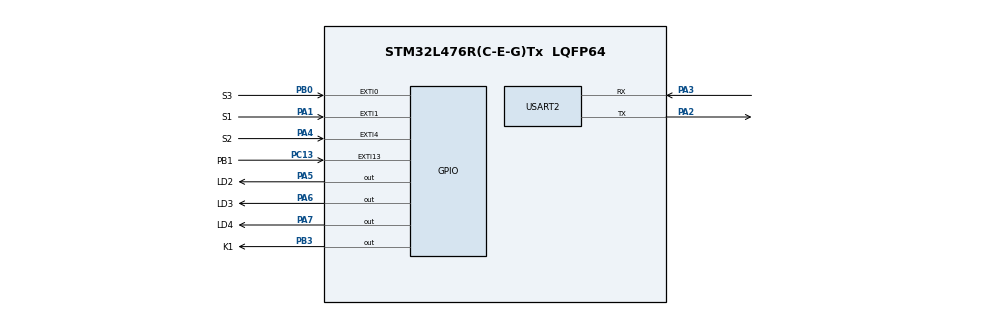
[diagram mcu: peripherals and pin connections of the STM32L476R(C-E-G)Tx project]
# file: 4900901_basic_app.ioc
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Mcu.Family=STM32L4
Mcu.Name=STM32L476R(C-E-G)Tx
Mcu.Package=LQFP64
NVIC.EXTI0_IRQn=true\:0\:0\:false\:false\:true\:true\:true\:true
NVIC.EXTI15_10_IRQn=true\:0\:0\:false\:false\:true\:true\:true\:true
NVIC.EXTI1_IRQn=true\:0\:0\:false\:false\:true\:true\:true\:true
NVIC.EXTI4_IRQn=true\:0\:0\:false\:false\:true\:true\:true\:true
NVIC.PriorityGroup=NVIC_PRIORITYGROUP_4
PA1.GPIO_Label=S1
PA1.GPIO_ModeDefaultEXTI=GPIO_MODE_IT_FALLING
PA1.Signal=GPXTI1
PA2.Mode=Asynchronous
PA2.Signal=USART2_TX
PA3.Mode=Asynchronous
PA3.Signal=USART2_RX
PA4.GPIO_Label=S2
PA4.GPIO_ModeDefaultEXTI=GPIO_MODE_IT_FALLING
PA4.GPIO_PuPd=GPIO_NOPULL
PA4.Signal=GPXTI4
PA5.GPIO_Label=LD2
PA5.GPIO_ModeDefaultOutputPP=GPIO_MODE_OUTPUT_PP
PA5.GPIO_PuPd=GPIO_NOPULL
PA5.GPIO_Speed=GPIO_SPEED_FREQ_LOW
PA5.PinState=GPIO_PIN_RESET
PA5.Signal=GPIO_Output
PA6.GPIO_Label=LD3
PA6.Signal=GPIO_Output
PA7.GPIO_Label=LD4
PA7.Signal=GPIO_Output
PB0.GPIO_Label=S3
PB0.GPIO_ModeDefaultEXTI=GPIO_MODE_IT_FALLING
PB0.Signal=GPXTI0
PB3\ (JTDO-TRACESWO).GPIO_Label=K1
PB3\ (JTDO-TRACESWO).GPIO_ModeDefaultOutputPP=GPIO_MODE_OUTPUT_OD
PB3\ (JTDO-TRACESWO).GPIO_PuPd=GPIO_NOPULL
PB3\ (JTDO-TRACESWO).PinState=GPIO_PIN_SET
PB3\ (JTDO-TRACESWO).Signal=GPIO_Output
PC13.GPIO_Label=PB1
PC13.GPIO_ModeDefaultEXTI=GPIO_MODE_IT_FALLING
PC13.Signal=GPXTI13
ProjectManager.HeapSize=0x200
ProjectManager.StackSize=0x400
ProjectManager.TargetToolchain=STM32CubeIDE
RCC.HSE_VALUE=8000000
RCC.HSI_VALUE=16000000
RCC.LSE_VALUE=32768
RCC.MSI_VALUE=4000000
RCC.VCOOutputFreq_Value=32000000
USART2.Parity=PARITY_NONE
USART2.VirtualMode-Asynchronous=VM_ASYNC
board=custom

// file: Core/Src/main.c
/* USER CODE BEGIN Header */
/**
  ******************************************************************************
  * @file           : main.c
  * @brief          : Main program body
  ******************************************************************************
  * @attention
  *
  * Copyright (c) 2024 STMicroelectronics.
  * All rights reserved.
  *
  * This software is licensed under terms that can be found in the LICENSE file
  * in the root directory of this software component.
  * If no LICENSE file comes with this software, it is provided AS-IS.
  *
  ******************************************************************************
  */
/* USER CODE END Header */
#include "main.h"

UART_HandleTypeDef huart2;

void SystemClock_Config(void);
static void MX_GPIO_Init(void);
static void MX_USART2_UART_Init(void);

/* USER CODE BEGIN 0 */
void HAL_GPIO_EXTI_Callback(uint16_t GPIO_Pin)
{
  /* Prevent unused argument(s) compilation warning */
  UNUSED(GPIO_Pin);
  if (GPIO_Pin==GPIO_PIN_13){// Blink izquierda
	  HAL_GPIO_TogglePin(LD2_GPIO_Port,LD2_Pin);
  } else if (GPIO_Pin==S1_Pin){
	  HAL_GPIO_WritePin(LD2_GPIO_Port,LD2_Pin,1);
	  for (uint16_t counter =0; counter <0xEFFF; counter++){}
	  HAL_GPIO_WritePin(LD2_GPIO_Port,LD2_Pin,0);
	  for (uint16_t counter =0; counter <0xEFFF; counter++){}
	  HAL_GPIO_WritePin(LD2_GPIO_Port,LD2_Pin,1);
	  HAL_UART_Transmit(&huart2, "PB1\r\n", 5, 10);
  }else if (GPIO_Pin==S2_Pin){//Estacionarias
	  HAL_GPIO_WritePin(LD3_GPIO_Port,LD3_Pin,1);
	  HAL_GPIO_WritePin(LD2_GPIO_Port,LD2_Pin,1);
	  HAL_GPIO_WritePin(K1_GPIO_Port,K1_Pin,1);
	  for (uint16_t counter =0; counter <0xEFFF; counter++){}
	  HAL_GPIO_WritePin(LD3_GPIO_Port,LD3_Pin,0);
	  HAL_GPIO_WritePin(LD2_GPIO_Port,LD2_Pin,0);
	  HAL_GPIO_WritePin(K1_GPIO_Port,K1_Pin,0);
	  for (uint16_t counter =0; counter <0xEFFF; counter++){}
	  HAL_GPIO_WritePin(LD3_GPIO_Port,LD3_Pin,1);
	  HAL_GPIO_WritePin(LD2_GPIO_Port,LD2_Pin,1);
	  HAL_GPIO_WritePin(K1_GPIO_Port,K1_Pin,1);
	  HAL_UART_Transmit(&huart2, "PB2\r\n", 5, 10);
  }else if (GPIO_Pin==S3_Pin){//Blink derecha
	  HAL_GPIO_WritePin(LD3_GPIO_Port,LD3_Pin,1);
	  for (uint16_t counter =0; counter <0xEFFF; counter++){}
	  HAL_GPIO_WritePin(LD3_GPIO_Port,LD3_Pin,0);
	  for (uint16_t counter =0; counter <0xEFFF; counter++){}
	  HAL_GPIO_WritePin(LD3_GPIO_Port,LD3_Pin,1);
	  HAL_UART_Transmit(&huart2, "PB3\r\n", 5, 10);//Mensaje en consola
}
//  /* NOTE: This function should not be modified, when the callback is needed,
//           the HAL_GPIO_EXTI_Callback could be implemented in the user file
//   */
}

/* USER CODE END 0 */

int main(void)
{

  /* MCU Configuration--------------------------------------------------------*/

  /* Reset of all peripherals, Initializes the Flash interface and the Systick. */
  HAL_Init();

  /* Configure the system clock */
  SystemClock_Config();

  /* Initialize all configured peripherals */
  MX_GPIO_Init();
  MX_USART2_UART_Init();
  /* USER CODE BEGIN 2 */
  HAL_UART_Transmit(&huart2, "Hello\r\n", 7, 10);
  /* USER CODE END 2 */

  /* Infinite loop */
  /* USER CODE BEGIN WHILE */
  //uint32_t timeout_tick;
  while (1)
  {

//	  if (HAL_GPIO_ReadPin(PB1_GPIO_Port, PB1_Pin)==0){
//		  HAL_GPIO_WritePin(LD2_GPIO_Port, LD2_Pin, 1);
//	  } else{
//		  HAL_GPIO_WritePin(LD2_GPIO_Port, LD2_Pin, 0);
//	  }
//	  if (timeout_tick< HAL_GetTick()){
//		  timeout_tick = HAL_GetTick()+500;
//		  GPIOA->ODR ^= 0x01 <<5; // LED ON
//	  }
    /* USER CODE END WHILE */

  }
}

void SystemClock_Config(void)
{
  RCC_OscInitTypeDef RCC_OscInitStruct = {0};
  RCC_ClkInitTypeDef RCC_ClkInitStruct = {0};

  /** Configure the main internal regulator output voltage
  */
  if (HAL_PWREx_ControlVoltageScaling(PWR_REGULATOR_VOLTAGE_SCALE1) != HAL_OK)
  {
    Error_Handler();
  }

  /** Initializes the RCC Oscillators according to the specified parameters
  * in the RCC_OscInitTypeDef structure.
  */
  RCC_OscInitStruct.OscillatorType = RCC_OSCILLATORTYPE_MSI;
  RCC_OscInitStruct.MSIState = RCC_MSI_ON;
  RCC_OscInitStruct.MSICalibrationValue = 0;
  RCC_OscInitStruct.MSIClockRange = RCC_MSIRANGE_6;
  RCC_OscInitStruct.PLL.PLLState = RCC_PLL_NONE;
  if (HAL_RCC_OscConfig(&RCC_OscInitStruct) != HAL_OK)
  {
    Error_Handler();
  }

  /** Initializes the CPU, AHB and APB buses clocks
  */
  RCC_ClkInitStruct.ClockType = RCC_CLOCKTYPE_HCLK|RCC_CLOCKTYPE_SYSCLK
                              |RCC_CLOCKTYPE_PCLK1|RCC_CLOCKTYPE_PCLK2;
  RCC_ClkInitStruct.SYSCLKSource = RCC_SYSCLKSOURCE_MSI;
  RCC_ClkInitStruct.AHBCLKDivider = RCC_SYSCLK_DIV1;
  RCC_ClkInitStruct.APB1CLKDivider = RCC_HCLK_DIV1;
  RCC_ClkInitStruct.APB2CLKDivider = RCC_HCLK_DIV1;

  if (HAL_RCC_ClockConfig(&RCC_ClkInitStruct, FLASH_LATENCY_0) != HAL_OK)
  {
    Error_Handler();
  }
}

static void MX_USART2_UART_Init(void)
{

  huart2.Instance = USART2;
  huart2.Init.BaudRate = 115200;
  huart2.Init.WordLength = UART_WORDLENGTH_8B;
  huart2.Init.StopBits = UART_STOPBITS_1;
  huart2.Init.Parity = UART_PARITY_NONE;
  huart2.Init.Mode = UART_MODE_TX_RX;
  huart2.Init.HwFlowCtl = UART_HWCONTROL_NONE;
  huart2.Init.OverSampling = UART_OVERSAMPLING_16;
  huart2.Init.OneBitSampling = UART_ONE_BIT_SAMPLE_DISABLE;
  huart2.AdvancedInit.AdvFeatureInit = UART_ADVFEATURE_NO_INIT;
  if (HAL_UART_Init(&huart2) != HAL_OK)
  {
    Error_Handler();
  }

}

static void MX_GPIO_Init(void)
{
  GPIO_InitTypeDef GPIO_InitStruct = {0};

  /* GPIO Ports Clock Enable */
  __HAL_RCC_GPIOC_CLK_ENABLE();
  __HAL_RCC_GPIOA_CLK_ENABLE();
  __HAL_RCC_GPIOB_CLK_ENABLE();

  /*Configure GPIO pin Output Level */
  HAL_GPIO_WritePin(GPIOA, LD2_Pin|LD3_Pin|LD4_Pin, GPIO_PIN_RESET);

  /*Configure GPIO pin Output Level */
  HAL_GPIO_WritePin(K1_GPIO_Port, K1_Pin, GPIO_PIN_SET);

  /*Configure GPIO pin : PB1_Pin */
  GPIO_InitStruct.Pin = PB1_Pin;
  GPIO_InitStruct.Mode = GPIO_MODE_IT_FALLING;
  GPIO_InitStruct.Pull = GPIO_NOPULL;
  HAL_GPIO_Init(PB1_GPIO_Port, &GPIO_InitStruct);

  /*Configure GPIO pins : S1_Pin S2_Pin */
  GPIO_InitStruct.Pin = S1_Pin|S2_Pin;
  GPIO_InitStruct.Mode = GPIO_MODE_IT_FALLING;
  GPIO_InitStruct.Pull = GPIO_NOPULL;
  HAL_GPIO_Init(GPIOA, &GPIO_InitStruct);

  /*Configure GPIO pins : LD2_Pin LD3_Pin LD4_Pin */
  GPIO_InitStruct.Pin = LD2_Pin|LD3_Pin|LD4_Pin;
  GPIO_InitStruct.Mode = GPIO_MODE_OUTPUT_PP;
  GPIO_InitStruct.Pull = GPIO_NOPULL;
  GPIO_InitStruct.Speed = GPIO_SPEED_FREQ_LOW;
  HAL_GPIO_Init(GPIOA, &GPIO_InitStruct);

  /*Configure GPIO pin : S3_Pin */
  GPIO_InitStruct.Pin = S3_Pin;
  GPIO_InitStruct.Mode = GPIO_MODE_IT_FALLING;
  GPIO_InitStruct.Pull = GPIO_NOPULL;
  HAL_GPIO_Init(S3_GPIO_Port, &GPIO_InitStruct);

  /*Configure GPIO pin : K1_Pin */
  GPIO_InitStruct.Pin = K1_Pin;
  GPIO_InitStruct.Mode = GPIO_MODE_OUTPUT_OD;
  GPIO_InitStruct.Pull = GPIO_NOPULL;
  GPIO_InitStruct.Speed = GPIO_SPEED_FREQ_LOW;
  HAL_GPIO_Init(K1_GPIO_Port, &GPIO_InitStruct);

  /* EXTI interrupt init*/
  HAL_NVIC_SetPriority(EXTI0_IRQn, 0, 0);
  HAL_NVIC_EnableIRQ(EXTI0_IRQn);

  HAL_NVIC_SetPriority(EXTI1_IRQn, 0, 0);
  HAL_NVIC_EnableIRQ(EXTI1_IRQn);

  HAL_NVIC_SetPriority(EXTI4_IRQn, 0, 0);
  HAL_NVIC_EnableIRQ(EXTI4_IRQn);

  HAL_NVIC_SetPriority(EXTI15_10_IRQn, 0, 0);
  HAL_NVIC_EnableIRQ(EXTI15_10_IRQn);

}

void Error_Handler(void)
{
  __disable_irq();
  while (1)
  {
  }
}
